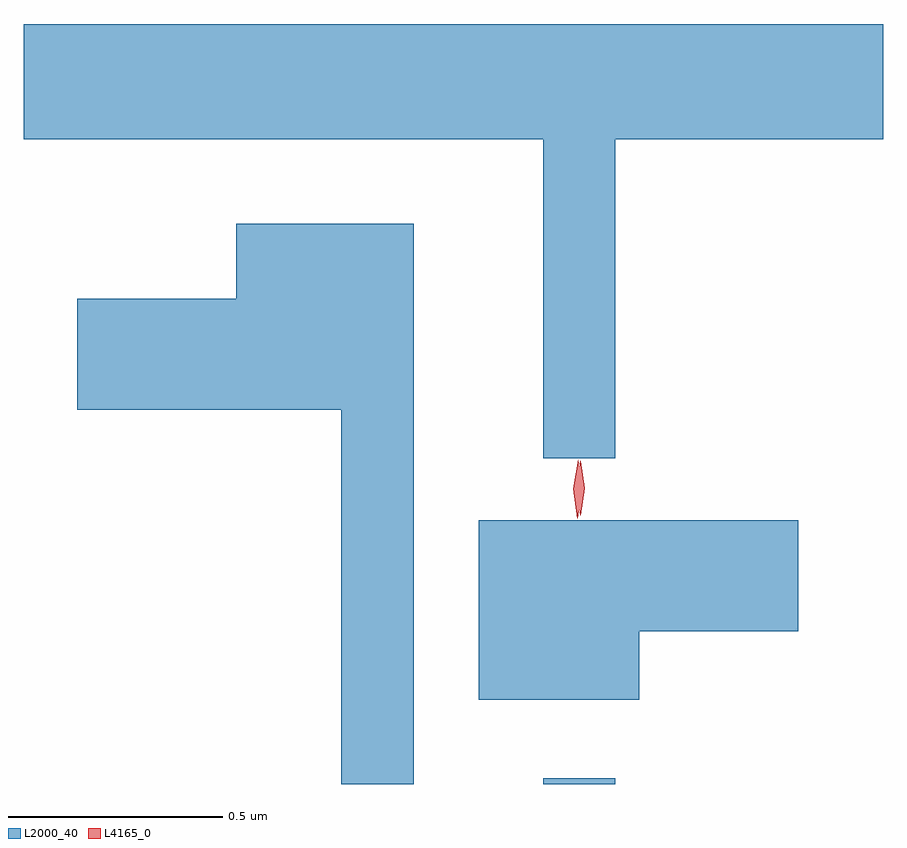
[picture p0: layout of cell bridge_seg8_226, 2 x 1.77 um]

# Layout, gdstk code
import gdstk
lib = gdstk.Library(unit=1e-6, precision=1e-09)
def R(c, l, rs):  # rectangles x0, y0, x1, y1
    for r in rs: c.add(gdstk.rectangle(r[:2], r[2:], *l))
def P(c, l, *ps):  # polygons
    for p in ps: c.add(gdstk.Polygon(p, *l))
L2000_40 = (2000, 40)
L4165_0 = (4165, 0)

bridge_seg8_226 = lib.new_cell('bridge_seg8_226')
R(bridge_seg8_226, L2000_40, [(1165.431,1890.415,1165.599,1890.428)])
P(bridge_seg8_226, L2000_40, [(1165.599,1891.916),(1166.222,1891.916),(1166.222,1892.184),(1164.222,1892.184),(1164.222,1891.916),(1165.431,1891.916),(1165.431,1891.173),(1165.599,1891.173)],
  [(1165.129,1891.719),(1164.716,1891.719),(1164.716,1891.544),(1164.346,1891.544),(1164.346,1891.286),(1164.961,1891.286),(1164.961,1890.415),(1165.129,1890.415)],
  [(1165.654,1890.771),(1166.024,1890.771),(1166.024,1891.029),(1165.281,1891.029),(1165.281,1890.611),(1165.654,1890.611)])
P(bridge_seg8_226, L4165_0, [(1165.517,1891.04),(1165.517,1891.04),(1165.507,1891.103),(1165.517,1891.166),(1165.517,1891.167),(1165.518,1891.166),(1165.527,1891.103),(1165.518,1891.04)],
  [(1165.51,1891.034),(1165.51,1891.034),(1165.501,1891.102),(1165.512,1891.17),(1165.512,1891.17),(1165.512,1891.17),(1165.521,1891.102),(1165.511,1891.034)])

lib.write_gds('bridge_seg8_226.gds')
